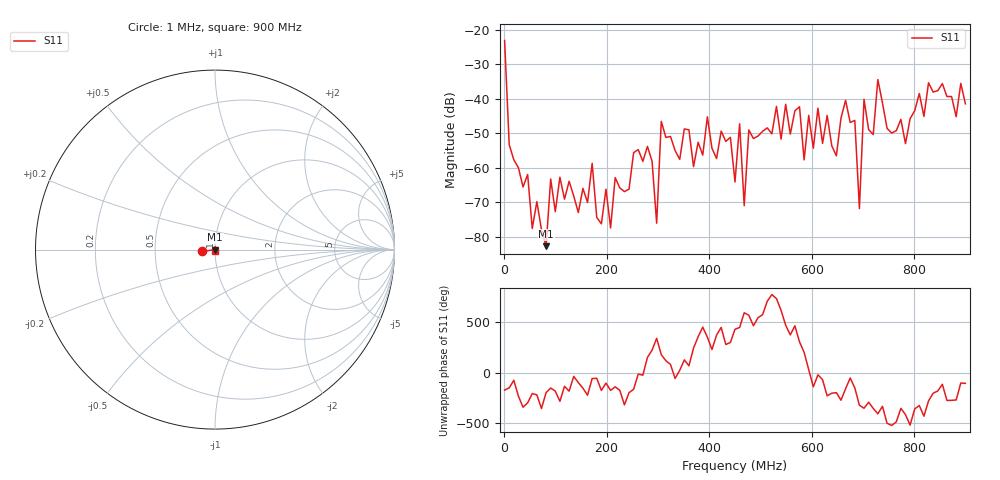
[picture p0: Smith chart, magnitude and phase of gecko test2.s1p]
! File created by NanoVNA (https://gen111.taobao.com/)
! Start 1000000Hz  Stop 899999800Hz  Points 101
# HZ S MA R 50
!S - Parameter data, F S11
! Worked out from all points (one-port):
!   101 points, 1 MHz to 900 MHz, reference 50 ohm
!   lowest |S11| = -82.7 dB at 81.91 MHz (marker M1), VSWR 1.00, Z = 50 + j0.00215 ohm
!   |S11| at or under -10 dB: start of sweep to end of sweep
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1000000  0.07047 -172.1
9989900  0.00217 -150.0
8.19099e7  7.328e-05 162.9
9.08999e7  0.0006902 -151.8
1.178699e8  0.0003522 -134.3
1.718099e8  0.001165 -57.5
2.077699e8  0.0001349 -175.0
2.167599e8  0.0007233 -139.9
2.347399e8  0.0004532 41.5
2.796899e8  0.002048 152.0
2.976699e8  0.0001579 -18.9
3.066599e8  0.004729 178.9
3.426199e8  0.00133 23.2
3.965599e8  0.0055 -7.1
4.504999e8  0.0006249 70.7
4.594898e8  0.004354 88.4
4.684798e8  0.0002838 -125.3
4.774698e8  0.003548 -150.5
5.673698e8  0.006735 105.2
5.853498e8  0.001307 -158.0
5.943398e8  0.005776 30.1
6.482798e8  0.001498 162.3
6.662598e8  0.009572 -158.5
6.842398e8  0.004881 -150.2
6.932298e8  0.0002565 37.8
7.022198e8  0.00987 7.9
7.921198e8  0.005161 -159.2
8.999998e8  0.008496 -105.3
